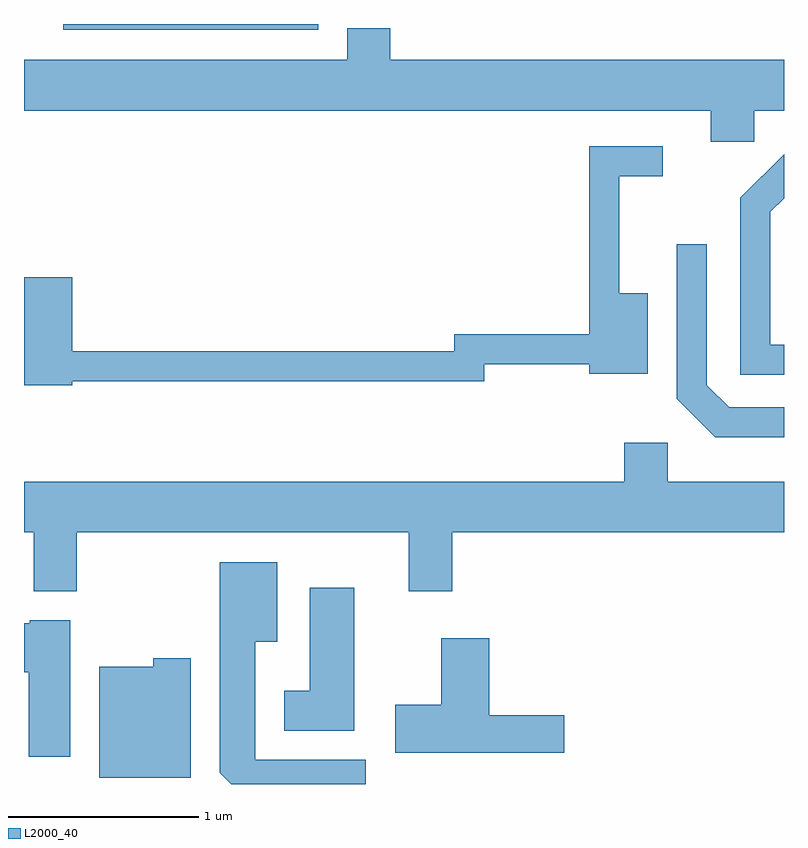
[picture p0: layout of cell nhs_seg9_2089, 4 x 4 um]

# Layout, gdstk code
import gdstk
lib = gdstk.Library(unit=1e-6, precision=1e-09)
def R(c, l, rs):  # rectangles x0, y0, x1, y1
    for r in rs: c.add(gdstk.rectangle(r[:2], r[2:], *l))
def P(c, l, *ps):  # polygons
    for p in ps: c.add(gdstk.Polygon(p, *l))
L2000_40 = (2000, 40)

nhs_seg9_2089 = lib.new_cell('nhs_seg9_2089')
R(nhs_seg9_2089, L2000_40, [(245.818,2054.401,247.159,2054.432)])
P(nhs_seg9_2089, L2000_40, [(249.454,2053.976),(249.611,2053.976),(249.611,2054.244),(247.539,2054.244),(247.539,2054.409),(247.311,2054.409),(247.311,2054.244),(245.611,2054.244),(245.611,2053.976),(249.226,2053.976),(249.226,2053.811),(249.454,2053.811)],
  [(245.864,2052.551),(248.034,2052.551),(248.034,2052.641),(248.586,2052.641),(248.586,2052.591),(248.894,2052.591),(248.894,2053.014),(248.744,2053.014),(248.744,2053.631),(248.973,2053.631),(248.973,2053.789),(248.586,2053.789),(248.586,2052.799),(247.876,2052.799),(247.876,2052.709),(245.864,2052.709),(245.864,2053.099),(245.611,2053.099),(245.611,2052.531),(245.864,2052.531)],
  [(249.611,2052.744),(249.539,2052.744),(249.539,2053.443),(249.611,2053.515),(249.611,2053.746),(249.381,2053.517),(249.381,2052.586),(249.611,2052.586)],
  [(249.611,2052.414),(249.322,2052.414),(249.204,2052.532),(249.204,2053.273),(249.046,2053.273),(249.046,2052.459),(249.249,2052.256),(249.611,2052.256)],
  [(245.889,2051.756),(247.636,2051.756),(247.636,2051.446),(247.864,2051.446),(247.864,2051.756),(249.611,2051.756),(249.611,2052.024),(248.999,2052.024),(248.999,2052.229),(248.771,2052.229),(248.771,2052.024),(245.611,2052.024),(245.611,2051.756),(245.661,2051.756),(245.661,2051.446),(245.889,2051.446)],
  [(247.409,2050.559),(246.829,2050.559),(246.829,2051.181),(246.944,2051.181),(246.944,2051.599),(246.641,2051.599),(246.641,2050.492),(246.701,2050.432),(247.409,2050.432)],
  [(247.349,2051.464),(247.116,2051.464),(247.116,2050.924),(246.981,2050.924),(246.981,2050.711),(247.349,2050.711)],
  [(245.854,2051.294),(245.64,2051.294),(245.64,2051.279),(245.611,2051.279),(245.611,2051.021),(245.636,2051.021),(245.636,2050.576),(245.854,2050.576)],
  [(248.454,2050.794),(248.059,2050.794),(248.059,2051.199),(247.806,2051.199),(247.806,2050.849),(247.566,2050.849),(247.566,2050.596),(248.454,2050.596)],
  [(246.489,2051.094),(246.291,2051.094),(246.291,2051.049),(246.006,2051.049),(246.006,2050.466),(246.489,2050.466)])

lib.write_gds('nhs_seg9_2089.gds')
